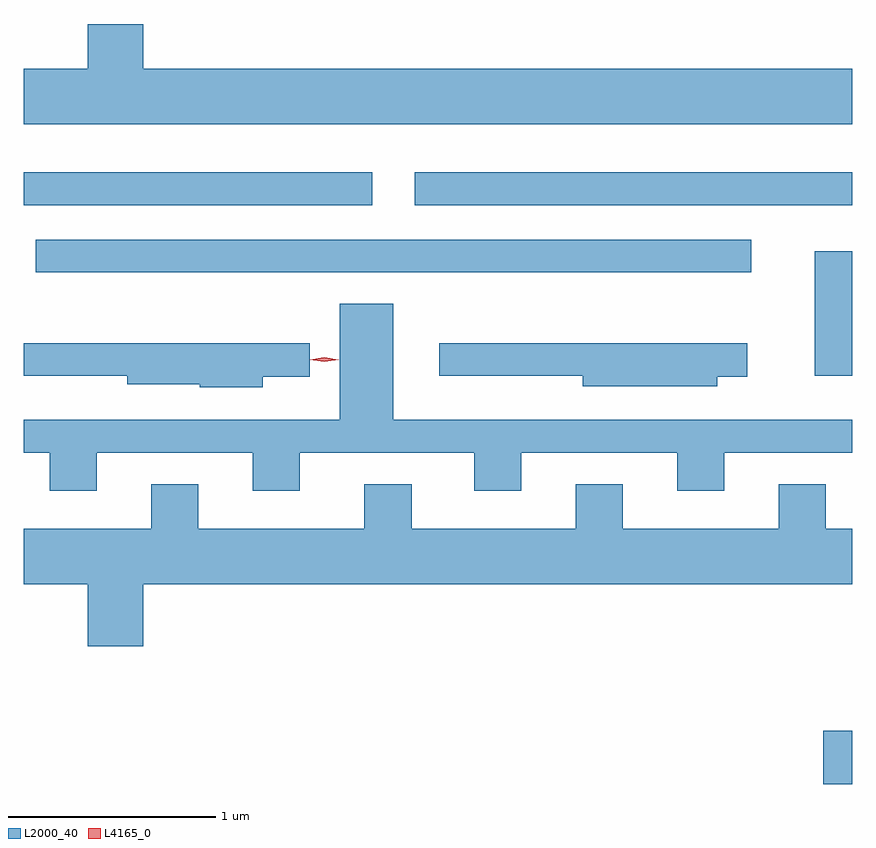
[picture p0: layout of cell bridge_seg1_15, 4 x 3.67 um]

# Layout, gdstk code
import gdstk
lib = gdstk.Library(unit=1e-6, precision=1e-09)
def R(c, l, rs):  # rectangles x0, y0, x1, y1
    for r in rs: c.add(gdstk.rectangle(r[:2], r[2:], *l))
def P(c, l, *ps):  # polygons
    for p in ps: c.add(gdstk.Polygon(p, *l))
L2000_40 = (2000, 40)
L4165_0 = (4165, 0)

bridge_seg1_15 = lib.new_cell('bridge_seg1_15')
R(bridge_seg1_15, L2000_40, [(1637.206,867.531,1637.346,867.789), (1637.166,869.501,1637.346,870.104), (1633.403,870.001,1636.858,870.159), (1633.346,870.326,1635.028,870.484), (1635.233,870.326,1637.346,870.484)])
P(bridge_seg1_15, L2000_40, [(1637.346,870.984),(1633.924,870.984),(1633.924,871.2),(1633.656,871.2),(1633.656,870.984),(1633.346,870.984),(1633.346,870.716),(1637.346,870.716)],
  [(1633.699,869.131),(1634.451,869.131),(1634.451,868.946),(1634.679,868.946),(1634.679,869.131),(1635.521,869.131),(1635.521,868.946),(1635.749,868.946),(1635.749,869.131),(1636.501,869.131),(1636.501,868.946),(1636.729,868.946),(1636.729,869.131),(1637.346,869.131),(1637.346,869.289),(1635.129,869.289),(1635.129,869.849),(1634.871,869.849),(1634.871,869.289),(1633.346,869.289),(1633.346,869.131),(1633.471,869.131),(1633.471,868.946),(1633.699,868.946)],
  [(1634.499,869.496),(1634.728,869.496),(1634.728,869.659),(1633.346,869.659),(1633.346,869.501),(1633.846,869.501),(1633.846,869.461),(1634.195,869.461),(1634.195,869.446),(1634.499,869.446)],
  [(1636.694,869.496),(1636.838,869.496),(1636.838,869.659),(1635.353,869.659),(1635.353,869.501),(1636.046,869.501),(1636.046,869.451),(1636.694,869.451)],
  [(1633.924,868.496),(1637.346,868.496),(1637.346,868.764),(1637.219,868.764),(1637.219,868.979),(1636.991,868.979),(1636.991,868.764),(1636.239,868.764),(1636.239,868.979),(1636.011,868.979),(1636.011,868.764),(1635.219,868.764),(1635.219,868.979),(1634.991,868.979),(1634.991,868.764),(1634.189,868.764),(1634.189,868.979),(1633.961,868.979),(1633.961,868.764),(1633.346,868.764),(1633.346,868.496),(1633.656,868.496),(1633.656,868.196),(1633.924,868.196)])
P(bridge_seg1_15, L4165_0, [(1634.798,869.57),(1634.728,869.579),(1634.728,869.579),(1634.728,869.58),(1634.797,869.59),(1634.866,869.58),(1634.867,869.58),(1634.866,869.579)])

lib.write_gds('bridge_seg1_15.gds')
